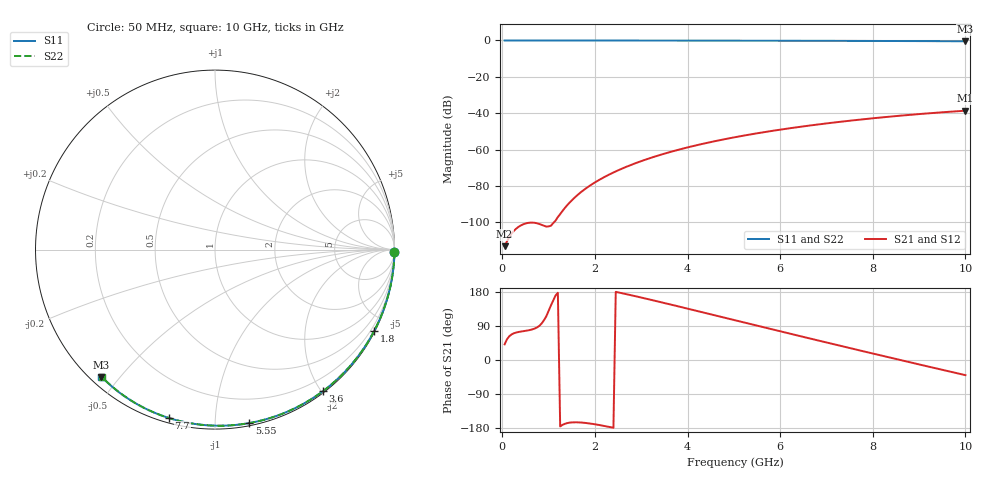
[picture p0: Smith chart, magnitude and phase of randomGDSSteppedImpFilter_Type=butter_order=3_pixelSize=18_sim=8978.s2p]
! freq	dB(S11)	phase(S11)	dB(S12)	phase(S12)
!  dB(S21)	phase(S21)	dB(S22)	phase(S22)
!S-par simulation data
#  GHz  S  DB  R 50
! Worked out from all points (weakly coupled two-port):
!   200 points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, 50 MHz to 10 GHz, reference 50 ohm
!   highest |S21| = -38.62 dB at 10 GHz (marker M1); lowest = -113.1 dB at 50 MHz (marker M2)
!   lowest |S11| = -0.4 dB at 10 GHz (marker M3), VSWR 39.12, Z = 1.53 - j22.4 ohm
!   |S11| at or under -10 dB: nowhere
!   |S22| runs from -0.5 to 0.0 dB; largest |S21 - S12| = 0
!   S11 on the Smith chart (normalised r, x): 50 MHz: open; 1.8 GHz: 0.04, -4.17; 3.6 GHz: 0.02, -2.02; 5.55 GHz: 0.02, -1.22; 7.7 GHz: 0.02, -0.76; 10 GHz: 0.03, -0.45
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0.05  -0.00 -0.8  -113.09 41.4  -113.09 41.4  -0.00 -0.8
0.9  -0.02 -13.6  -101.93 105.1  -101.93 105.1  -0.01 -13.6
1.75  -0.03 -26.3  -82.37 -165.5  -82.37 -165.5  -0.03 -26.3
1.8  -0.03 -27.0  -81.42 -166.1  -81.42 -166.1  -0.03 -27.0
1.85  -0.04 -27.7  -80.53 -166.9  -80.53 -166.9  -0.04 -27.7
1.9  -0.04 -28.5  -79.67 -167.7  -79.67 -167.7  -0.04 -28.5
2.05  -0.04 -30.7  -77.28 -170.6  -77.28 -170.6  -0.04 -30.7
2.25  -0.04 -33.6  -74.46 -175.2  -74.46 -175.2  -0.04 -33.6
2.45  -0.05 -36.5  -71.98 179.8  -71.98 179.8  -0.05 -36.5
2.65  -0.05 -39.3  -69.75 174.6  -69.75 174.6  -0.05 -39.4
3  -0.06 -44.3  -66.33 164.8  -66.33 164.8  -0.06 -44.4
3.4  -0.07 -50.0  -62.99 153.3  -62.99 153.3  -0.07 -50.0
3.6  -0.07 -52.8  -61.50 147.4  -61.50 147.4  -0.07 -52.8
4.3  -0.09 -62.4  -56.98 126.6  -56.98 126.6  -0.09 -62.4
5.05  -0.11 -72.3  -53.06 104.2  -53.06 104.2  -0.11 -72.4
5.55  -0.13 -78.8  -50.83 89.2  -50.83 89.2  -0.13 -78.9
6.1  -0.15 -85.8  -48.66 72.8  -48.66 72.8  -0.15 -85.8
6.7  -0.18 -93.2  -46.56 55.1  -46.56 55.1  -0.18 -93.3
7.7  -0.24 -105.3  -43.57 25.8  -43.57 25.8  -0.24 -105.3
8.35  -0.29 -112.9  -41.92 7.0  -41.92 7.0  -0.29 -112.9
9.15  -0.36 -122.1  -40.16 -16.0  -40.16 -16.0  -0.36 -122.1
10  -0.44 -131.7  -38.62 -40.0  -38.62 -40.0  -0.46 -131.7
